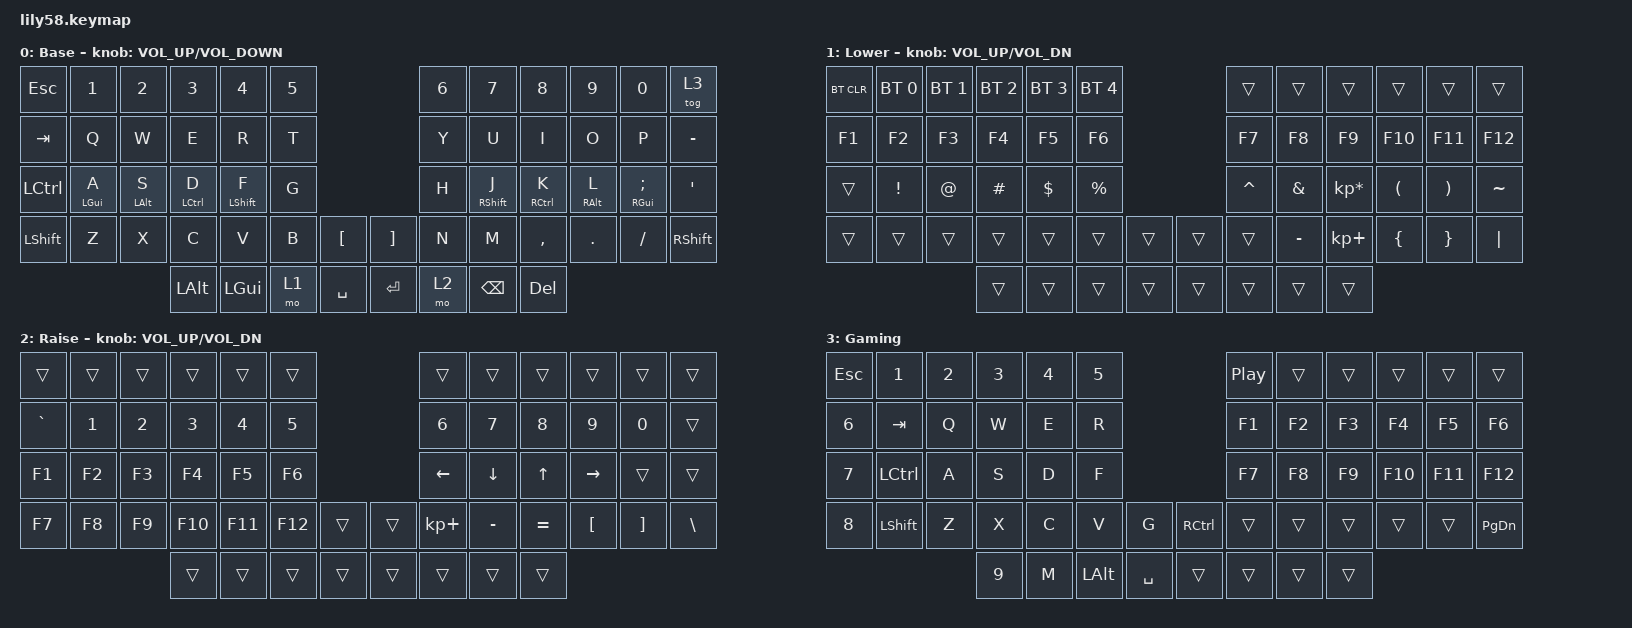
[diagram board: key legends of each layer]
/*
 * Copyright (c) 2020 The ZMK Contributors
 *
 * SPDX-License-Identifier: MIT
 */

#include <behaviors.dtsi>
#include <dt-bindings/zmk/bt.h>
#include <dt-bindings/zmk/keys.h>

/ {
    keymap {
        compatible = "zmk,keymap";

        default_layer {
            // ------------------------------------------------------------------------------------------------------------
            // |  ESC  |  1  |  2  |  3   |  4   |  5   |                   |  6   |  7    |  8    |  9   |   0   |   `   |
            // |  TAB  |  Q  |  W  |  E   |  R   |  T   |                   |  Y   |  U    |  I    |  O   |   P   |   -   |
            // |  CTRL |  A  |  S  |  D   |  F   |  G   |                   |  H   |  J    |  K    |  L   |   ;   |   '   |
            // | SHIFT |  Z  |  X  |  C   |  V   |  B   |   "["  |  |  "]"  |  N   |  M    |  ,    |  .   |   /   | SHIFT |
            //                     | ALT  | GUI  | LOWER|  SPACE |  | ENTER | RAISE| BSPC  | GUI   |

            display-name = "Base";
            bindings = <
&kp ESC    &kp N1          &kp N2          &kp N3              &kp N4            &kp N5                         &kp N6  &kp N7             &kp N8               &kp N9           &kp N0                   &tog 3
&kp TAB    &kp Q           &kp W           &kp E               &kp R             &kp T                          &kp Y   &kp U              &kp I                &kp O            &kp P                    &kp MINUS
&kp LCTRL  &mt LEFT_GUI A  &mt LEFT_ALT S  &mt LEFT_CONTROL D  &mt LEFT_SHIFT F  &kp G                          &kp H   &mt RIGHT_SHIFT J  &mt RIGHT_CONTROL K  &mt RIGHT_ALT L  &mt RIGHT_GUI SEMICOLON  &kp SQT
&kp LSHFT  &kp Z           &kp X           &kp C               &kp V             &kp B   &kp LBKT     &kp RBKT  &kp N   &kp M              &kp COMMA            &kp DOT          &kp FSLH                 &kp RSHFT
                                           &kp LALT            &kp LGUI          &mo 1   &kp SPACE    &kp RET   &mo 2   &kp BSPC           &kp DELETE
            >;

            sensor-bindings = <&inc_dec_kp C_VOLUME_UP C_VOLUME_DOWN>;
        };

        lower_layer {
            // ------------------------------------------------------------------------------------------------------------
            // | BTCLR | BT1 | BT2 |  BT3 |  BT4 |  BT5 |                   |      |       |       |      |       |       |
            // |  F1   |  F2 |  F3 |  F4  |  F5  |  F6  |                   |  F7  |  F8   |  F9   |  F10 |  F11  |  F12  |
            // |   `   |  !  |  @  |  #   |  $   |  %   |                   |  ^   |  &    |  *    |  (   |   )   |   ~   |
            // |       |     |     |      |      |      |        |  |       |      |  _    |  +    |  {   |   }   |  "|"  |
            //                     |      |      |      |        |  |       |      |       |       |

            display-name = "Lower";
            bindings = <
&bt BT_CLR  &bt BT_SEL 0  &bt BT_SEL 1  &bt BT_SEL 2  &bt BT_SEL 3  &bt BT_SEL 4                    &trans     &trans     &trans           &trans    &trans    &trans
&kp F1      &kp F2        &kp F3        &kp F4        &kp F5        &kp F6                          &kp F7     &kp F8     &kp F9           &kp F10   &kp F11   &kp F12
&trans      &kp EXCL      &kp AT        &kp HASH      &kp DOLLAR    &kp PRCNT                       &kp CARET  &kp AMPS   &kp KP_MULTIPLY  &kp LPAR  &kp RPAR  &kp TILDE
&trans      &trans        &trans        &trans        &trans        &trans        &trans    &trans  &trans     &kp MINUS  &kp KP_PLUS      &kp LBRC  &kp RBRC  &kp PIPE
                                        &trans        &trans        &trans        &trans    &trans  &trans     &trans     &trans
            >;

            sensor-bindings = <&inc_dec_kp C_VOL_UP C_VOL_DN>;
        };

        raise_layer {
            // ------------------------------------------------------------------------------------------------------------
            // |       |     |     |      |      |      |                   |      |       |       |      |       |       |
            // |   `   |  1  |  2  |  3   |  4   |  5   |                   |  6   |   7   |   8   |  9   |   0   |       |
            // |   F1  |  F2 |  F3 |  F4  |  F5  |  F6  |                   |      |   <-  |   v   |  ^   |  ->   |       |
            // |   F7  |  F8 |  F9 |  F10 |  F11 |  F12 |        |  |       |  +   |   -   |   =   |  [   |   ]   |   \   |
            //                     |      |      |      |        |  |       |      |       |       |

            display-name = "Raise";
            bindings = <
&trans     &trans  &trans  &trans   &trans   &trans                     &trans       &trans     &trans     &trans     &trans    &trans
&kp GRAVE  &kp N1  &kp N2  &kp N3   &kp N4   &kp N5                     &kp N6       &kp N7     &kp N8     &kp N9     &kp N0    &trans
&kp F1     &kp F2  &kp F3  &kp F4   &kp F5   &kp F6                     &kp LEFT     &kp DOWN   &kp UP     &kp RIGHT  &trans    &trans
&kp F7     &kp F8  &kp F9  &kp F10  &kp F11  &kp F12  &trans    &trans  &kp KP_PLUS  &kp MINUS  &kp EQUAL  &kp LBKT   &kp RBKT  &kp BSLH
                           &trans   &trans   &trans   &trans    &trans  &trans       &trans     &trans
            >;

            sensor-bindings = <&inc_dec_kp C_VOL_UP C_VOL_DN>;
        };

        Gaming {
            bindings = <
&kp ESC  &kp N1          &kp N2  &kp N3  &kp N4  &kp N5                            &kp C_PLAY_PAUSE  &trans  &trans  &trans   &trans   &trans
&kp N6   &kp TAB         &kp Q   &kp W   &kp E   &kp R                             &kp F1            &kp F2  &kp F3  &kp F4   &kp F5   &kp F6
&kp N7   &kp LCTRL       &kp A   &kp S   &kp D   &kp F                             &kp F7            &kp F8  &kp F9  &kp F10  &kp F11  &kp F12
&kp N8   &kp LEFT_SHIFT  &kp Z   &kp X   &kp C   &kp V     &kp G        &kp RCTRL  &trans            &trans  &trans  &trans   &trans   &kp PG_DN
                                 &kp N9  &kp M   &kp LALT  &kp SPACE    &trans     &trans            &trans  &trans
            >;

            label = "Gaming";
        };
    };
};
